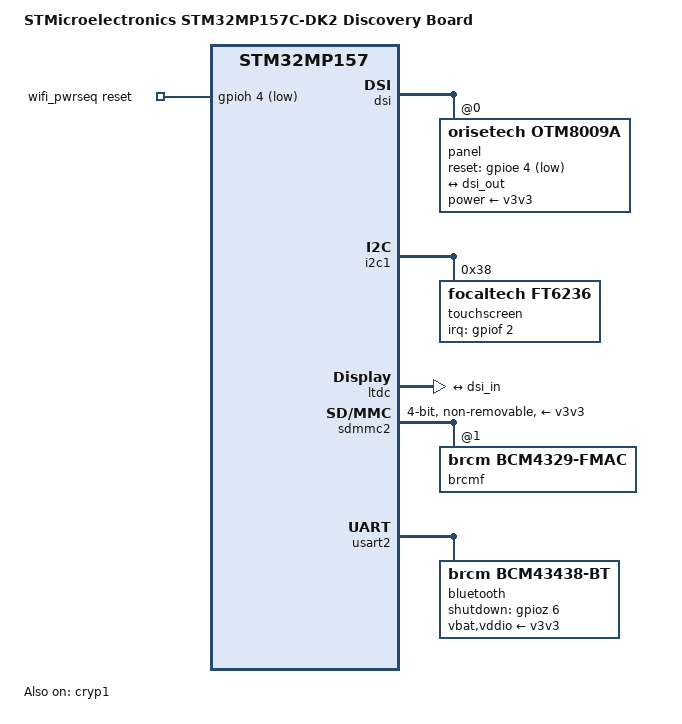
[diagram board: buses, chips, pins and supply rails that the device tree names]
// SPDX-License-Identifier: (GPL-2.0+ OR BSD-3-Clause)
/*
 * Copyright (C) STMicroelectronics 2019 - All Rights Reserved
 * Author: Alexandre Torgue <alexandre.torgue@st.com> for STMicroelectronics.
 */

/dts-v1/;

#include "stm32mp157.dtsi"
#include "stm32mp15xc.dtsi"
#include "stm32mp15-pinctrl.dtsi"
#include "stm32mp15xxac-pinctrl.dtsi"
#include "stm32mp15xx-dkx.dtsi"

/ {
	model = "STMicroelectronics STM32MP157C-DK2 Discovery Board";
	compatible = "st,stm32mp157c-dk2", "st,stm32mp157";

	aliases {
		ethernet0 = &ethernet0;
		serial3 = &usart2;
	};

	chosen {
		stdout-path = "serial0:115200n8";
	};

	wifi_pwrseq: wifi-pwrseq {
		compatible = "mmc-pwrseq-simple";
		reset-gpios = <&gpioh 4 GPIO_ACTIVE_LOW>;
	};
};

&cryp1 {
	status = "okay";
};

&dsi {
	#address-cells = <1>;
	#size-cells = <0>;
	status = "okay";

	panel@0 {
		compatible = "orisetech,otm8009a";
		reg = <0>;
		reset-gpios = <&gpioe 4 GPIO_ACTIVE_LOW>;
		power-supply = <&v3v3>;
		status = "okay";

		port {
			panel_in: endpoint {
				remote-endpoint = <&dsi_out>;
			};
		};
	};
};

&dsi_in {
	remote-endpoint = <&ltdc_ep1_out>;
};

&dsi_out {
	remote-endpoint = <&panel_in>;
};

&i2c1 {
	touchscreen@38 {
		compatible = "focaltech,ft6236";
		reg = <0x38>;
		interrupts = <2 2>;
		interrupt-parent = <&gpiof>;
		touchscreen-size-x = <480>;
		touchscreen-size-y = <800>;
		status = "okay";
	};
};

&ltdc {
	status = "okay";

	port {
		#address-cells = <1>;
		#size-cells = <0>;

		ltdc_ep1_out: endpoint@1 {
			reg = <1>;
			remote-endpoint = <&dsi_in>;
		};
	};
};

&rtc {
	pinctrl-names = "default";
	pinctrl-0 = <&rtc_rsvd_pins_a>;

	rtc_lsco_pins_a: rtc-lsco-0 {
		pins = "out2_rmp";
		function = "lsco";
	};
};

/* Wifi */
&sdmmc2 {
	pinctrl-names = "default", "opendrain", "sleep";
	pinctrl-0 = <&sdmmc2_b4_pins_a>;
	pinctrl-1 = <&sdmmc2_b4_od_pins_a>;
	pinctrl-2 = <&sdmmc2_b4_sleep_pins_a>;
	non-removable;
	cap-sdio-irq;
	st,neg-edge;
	bus-width = <4>;
	vmmc-supply = <&v3v3>;
	mmc-pwrseq = <&wifi_pwrseq>;
	#address-cells = <1>;
	#size-cells = <0>;
	status = "okay";

	brcmf: bcrmf@1 {
		reg = <1>;
		compatible = "brcm,bcm4329-fmac";
		pinctrl-names = "default";
		pinctrl-0 = <&rtc_lsco_pins_a>;
	};
};

/* Bluetooth */
&usart2 {
	pinctrl-names = "default", "sleep", "idle";
	pinctrl-0 = <&usart2_pins_c>;
	pinctrl-1 = <&usart2_sleep_pins_c>;
	pinctrl-2 = <&usart2_idle_pins_c>;
	uart-has-rtscts;
	status = "okay";

	bluetooth {
		shutdown-gpios = <&gpioz 6 GPIO_ACTIVE_HIGH>;
		compatible = "brcm,bcm43438-bt";
		max-speed = <3000000>;
		vbat-supply = <&v3v3>;
		vddio-supply = <&v3v3>;
	};
};
